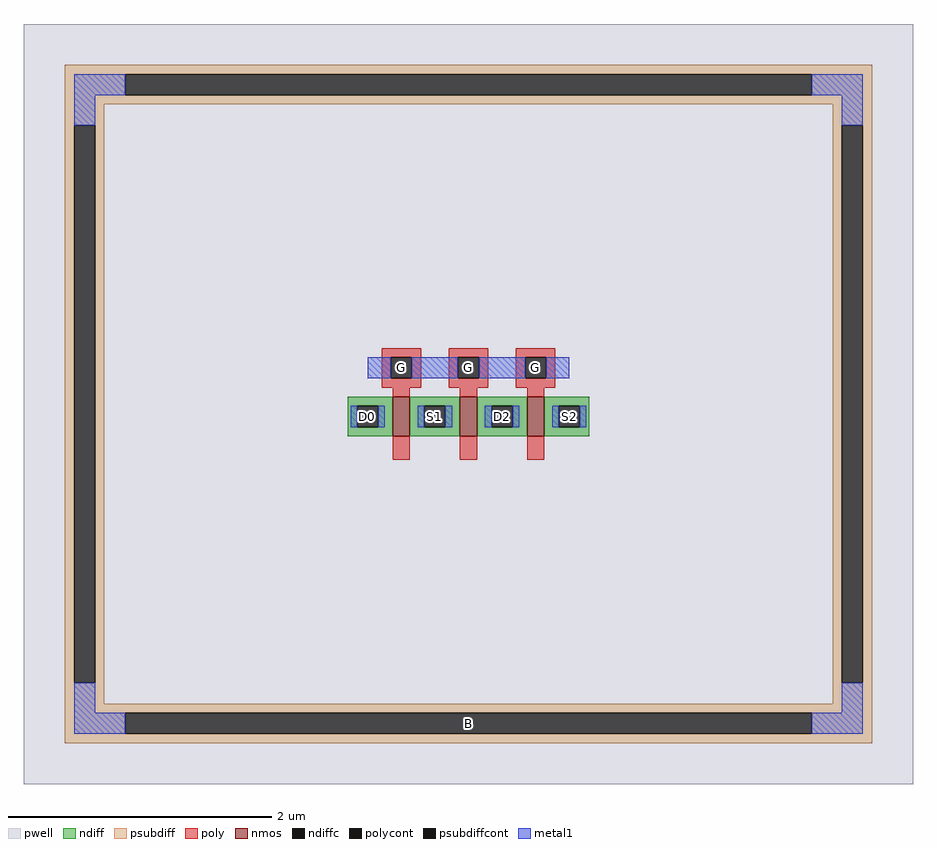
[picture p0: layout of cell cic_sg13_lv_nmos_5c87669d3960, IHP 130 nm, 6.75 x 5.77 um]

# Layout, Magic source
magic
tech ihp-sg13cmos5l
magscale 1 2
<< pwell >>
rect -675 -577 675 577
<< nmos >>
rect -115 -49 -89 11
rect -13 -49 13 11
rect 89 -49 115 11
<< ndiff >>
rect -183 -3 -115 11
rect -183 -35 -169 -3
rect -137 -35 -115 -3
rect -183 -49 -115 -35
rect -89 -3 -13 11
rect -89 -35 -67 -3
rect -35 -35 -13 -3
rect -89 -49 -13 -35
rect 13 -3 89 11
rect 13 -35 35 -3
rect 67 -35 89 -3
rect 13 -49 89 -35
rect 115 -3 183 11
rect 115 -35 137 -3
rect 169 -35 183 -3
rect 115 -49 183 -35
<< ndiffc >>
rect -169 -35 -137 -3
rect -67 -35 -35 -3
rect 35 -35 67 -3
rect 137 -35 169 -3
<< psubdiff >>
rect -613 501 613 515
rect -613 469 -521 501
rect 521 469 613 501
rect -613 455 613 469
rect -613 423 -553 455
rect -613 -423 -599 423
rect -567 -423 -553 423
rect 553 423 613 455
rect -613 -455 -553 -423
rect 553 -423 567 423
rect 599 -423 613 423
rect 553 -455 613 -423
rect -613 -469 613 -455
rect -613 -501 -521 -469
rect 521 -501 613 -469
rect -613 -515 613 -501
<< psubdiffcont >>
rect -521 469 521 501
rect -599 -423 -567 423
rect 567 -423 599 423
rect -521 -501 521 -469
<< poly >>
rect -132 71 -72 85
rect -132 39 -118 71
rect -86 39 -72 71
rect -132 25 -72 39
rect -30 71 30 85
rect -30 39 -16 71
rect 16 39 30 71
rect -30 25 30 39
rect 72 71 132 85
rect 72 39 86 71
rect 118 39 132 71
rect 72 25 132 39
rect -115 11 -89 25
rect -13 11 13 25
rect 89 11 115 25
rect -115 -85 -89 -49
rect -13 -85 13 -49
rect 89 -85 115 -49
<< polycont >>
rect -118 39 -86 71
rect -16 39 16 71
rect 86 39 118 71
<< metal1 >>
rect -599 469 -521 501
rect 521 469 599 501
rect -599 423 -567 469
rect 567 423 599 469
rect -153 39 -118 71
rect -86 39 -16 71
rect 16 39 86 71
rect 118 39 153 71
rect -179 -35 -169 -3
rect -137 -35 -127 -3
rect -77 -35 -67 -3
rect -35 -35 -25 -3
rect 25 -35 35 -3
rect 67 -35 77 -3
rect 127 -35 137 -3
rect 169 -35 179 -3
rect -599 -469 -567 -423
rect 567 -469 599 -423
rect -599 -501 -521 -469
rect 521 -501 599 -469
<< labels >>
rlabel psubdiffcont 0 -485 0 -485 0 B
port 1 nsew
rlabel ndiffc -153 -19 -153 -19 0 D0
port 2 nsew
rlabel polycont -102 55 -102 55 0 G
port 3 nsew
rlabel ndiffc -51 -19 -51 -19 0 S1
port 4 nsew
rlabel polycont 0 55 0 55 0 G
port 3 nsew
rlabel ndiffc 51 -19 51 -19 0 D2
port 5 nsew
rlabel ndiffc 153 -19 153 -19 0 S2
port 6 nsew
rlabel polycont 102 55 102 55 0 G
port 3 nsew
<< properties >>
string FIXED_BBOX -583 -485 583 485
string gencell sg13_lv_nmos
string library sg13cmos5l
string parameters w 0.3 l 0.13 m 1 ng 3 diffcov 100 polycov 100 guard 1 glc 1 grc 1 gtc 1 gbc 1 tbcov 100 rlcov 100 topc 1 botc 0 poverlap 0 doverlap 1 lmin 0.13 wmin 0.15 class mosfet compatible {sg13_lv_nmos sg13_hv_nmos} full_metal 1 conn_gates 1 gate_ring 0 doports 1 viasrc 0 viadrn 0 viagate 0 ccols 1 viagb 0 viagr 0 viagl 0 viagt 0 set_x_to_guard 2.0 set_y_to_guard 2.0
<< end >>
